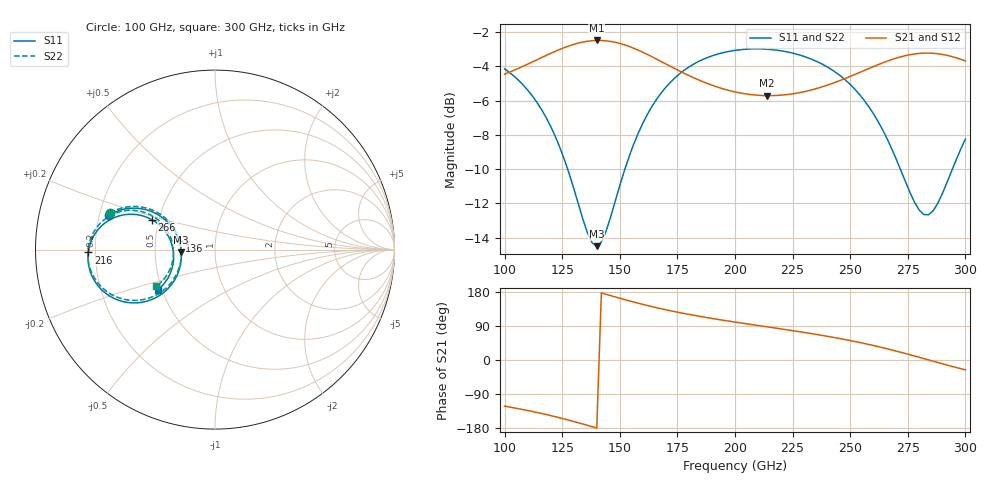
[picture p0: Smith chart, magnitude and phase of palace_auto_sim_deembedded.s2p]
! Created with skrf 1.11.0 (http://scikit-rf.org).
# GHz S DB R 50.0
!freq dBS11 angS11 dBS21 angS21 dBS12 angS12 dBS22 angS22
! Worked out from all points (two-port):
!   101 points, 100 GHz to 300 GHz, reference 50 ohm
!   highest |S21| = -2.49 dB at 140 GHz (marker M1); lowest = -5.7 dB at 214 GHz (marker M2)
!   |S21| within 3 dB of the highest: start of sweep to 199.9 GHz; 229.7 GHz to end of sweep
!   lowest |S11| = -14.5 dB at 140 GHz (marker M3), VSWR 1.46, Z = 34.2 - j1.13 ohm
!   |S11| at or under -10 dB: 127.3 GHz to 152.2 GHz (24.86 GHz wide, 17.8 % of centre); 271.8 GHz to 294.3 GHz (22.57 GHz wide, 7.97 % of centre)
!   |S22| runs from -14.5 to -3.0 dB; largest |S21 - S12| = 9.1e-14
!   S11 on the Smith chart (normalised r, x): 100 GHz: 0.24, +0.15; 136 GHz: 0.66, +0.07; 216 GHz: 0.17, -0.01; 266 GHz: 0.46, +0.18; 300 GHz: 0.48, -0.25
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100  -4.14 161.9  -4.45 -121.9  -4.45 -121.9  -4.15 160.8
110  -5.38 154.8  -3.87 -133.3  -3.87 -133.3  -5.38 153.6
118  -6.98 150.1  -3.36 -143.8  -3.36 -143.8  -6.99 148.8
126  -9.46 148.8  -2.90 -155.8  -2.90 -155.8  -9.47 147.4
134  -12.93 159.8  -2.58 -169.0  -2.58 -169.0  -12.94 158.3
136  -13.74 166.5  -2.53 -172.5  -2.53 -172.5  -13.75 165.0
140  -14.50 -175.2  -2.49 -179.5  -2.49 -179.5  -14.52 -176.6
144  -13.64 -157.0  -2.51 173.4  -2.51 173.4  -13.65 -158.5
154  -9.28 -140.2  -2.83 156.3  -2.83 156.3  -9.29 -141.8
168  -5.54 -145.8  -3.72 135.2  -3.72 135.2  -5.55 -147.6
184  -3.73 -157.6  -4.78 116.0  -4.78 116.0  -3.73 -159.5
200  -3.06 -168.6  -5.49 100.1  -5.49 100.1  -3.07 -170.7
214  -3.00 -177.5  -5.71 87.5  -5.71 87.5  -3.00 -179.7
216  -3.02 -178.7  -5.71 85.7  -5.71 85.7  -3.02 179.0
234  -3.62 170.0  -5.34 68.8  -5.34 68.8  -3.63 167.5
252  -5.33 159.0  -4.47 48.9  -4.47 48.9  -5.33 156.3
266  -8.22 154.7  -3.70 29.7  -3.70 29.7  -8.23 151.8
268  -8.80 155.2  -3.60 26.6  -3.60 26.6  -8.81 152.3
278  -11.96 168.9  -3.27 10.4  -3.27 10.4  -11.97 165.9
284  -12.66 -171.9  -3.22 0.3  -3.22 0.3  -12.68 -174.9
292  -10.78 -150.9  -3.35 -13.2  -3.35 -13.2  -10.79 -153.9
300  -8.24 -144.9  -3.68 -26.1  -3.68 -26.1  -8.25 -148.0
